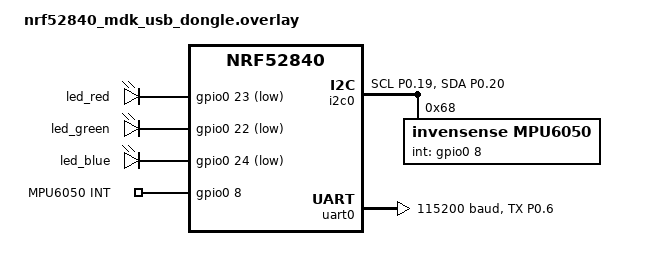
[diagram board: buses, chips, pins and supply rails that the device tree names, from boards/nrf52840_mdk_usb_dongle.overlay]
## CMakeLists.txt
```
# 1. This MUST be the first line
cmake_minimum_required(VERSION 3.20.0)

# 2. This loads the Zephyr engine. 
# HINTS $ENV{ZEPHYR_BASE} is the "safety net" for the terminal.
find_package(Zephyr REQUIRED HINTS $ENV{ZEPHYR_BASE})

# 3. This MUST come AFTER find_package
project(lima_blinky)

# 4. This MUST come AFTER find_package because Zephyr defines 'app'
target_sources(app PRIVATE 
    src/main.c
    src/fsm.c
    src/crypto.c
)
```

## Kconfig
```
# L.I.M.A. Firmware Configuration

source "Kconfig.zephyr"

config LIMA_MAIN_LOG_LEVEL
    int "LIMA main log level"
    default 3
    range 0 4

config LIMA_FSM_LOG_LEVEL
    int "LIMA FSM log level"
    default 3
    range 0 4

config LIMA_CRYPTO_LOG_LEVEL
    int "LIMA crypto log level"
    default 3
    range 0 4

config LIMA_DEEP_SLEEP_INTERVAL_MS
    int "Deep sleep wakeup interval (ms)"
    default 6000

config LIMA_BARO_THRESHOLD_PA
    int "Barometric pressure breach threshold in Pascals"
    default 5

config LIMA_CRYPTO_KEY_ID
    hex "PSA persistent key slot ID for LIMA signing key"
    default 0x00000001
```

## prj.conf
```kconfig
# Core Kernel Features
CONFIG_GPIO=y

# Logging
CONFIG_SERIAL=y
CONFIG_UART_CONSOLE=y
CONFIG_PRINTK=y
CONFIG_LOG=y
CONFIG_LOG_DEFAULT_LEVEL=3
# Error     1   LOG_ERR
# Warning   2   LOG_ERR, LOG_WRN
# Info      3   LOG_ERR, LOG_WRN, LOG_INF
# Debug     4   LOG_ERR, LOG_WRN, LOG_INF, LOG_DBG
CONFIG_LOG_MODE_DEFERRED=y

# I2C
CONFIG_I2C=y
CONFIG_I2C_LOG_LEVEL_DBG=y

# Sensors
CONFIG_SENSOR=y
CONFIG_MPU6050=y
CONFIG_BME280=y
CONFIG_LIMA_BARO_THRESHOLD_PA=5
CONFIG_BME280_FILTER_OFF=y

# Stack protection / fault dumps
CONFIG_FAULT_DUMP=2
CONFIG_HW_STACK_PROTECTION=y
CONFIG_MPU_STACK_GUARD=y

# FPU for sqrt/math
CONFIG_FPU=y

# Heap and workqueue
CONFIG_HEAP_MEM_POOL_SIZE=2048
CONFIG_SYSTEM_WORKQUEUE_STACK_SIZE=4096

# Power Management — PM_DEVICE only, CONFIG_PM not supported on this board
# CONFIG_PM=y
CONFIG_PM_DEVICE=y
CONFIG_LIMA_DEEP_SLEEP_INTERVAL_MS=6000

# Crypto — Oberon PSA driver (software, volatile keys for v1)
CONFIG_NRF_SECURITY=y
CONFIG_MBEDTLS_PSA_CRYPTO_C=y
CONFIG_MBEDTLS_ENABLE_HEAP=y
CONFIG_MBEDTLS_HEAP_SIZE=8192
# CONFIG_NRF_CC3XX_PLATFORM=y
CONFIG_PSA_CRYPTO_DRIVER_OBERON=y
CONFIG_PSA_WANT_GENERATE_RANDOM=y
CONFIG_PSA_WANT_ALG_CTR_DRBG=y
CONFIG_PSA_WANT_ALG_ECDSA=y
CONFIG_PSA_WANT_ALG_SHA_256=y
CONFIG_PSA_WANT_ECC_SECP_R1_256=y
CONFIG_PSA_WANT_KEY_TYPE_ECC_KEY_PAIR_GENERATE=y
CONFIG_PSA_WANT_KEY_TYPE_ECC_PUBLIC_KEY=y
# CONFIG_MBEDTLS_PSA_CRYPTO_KEY_ID_ENCODES_OWNER=n


# Bluetooth
CONFIG_BT=y
CONFIG_BT_PERIPHERAL=y
CONFIG_BT_DEVICE_NAME="LIMA_NODE_01"

# Persistent storage
CONFIG_SETTINGS=y
CONFIG_SETTINGS_NVS=y
CONFIG_NVS_LOOKUP_CACHE=y

CONFIG_FLASH=y
CONFIG_FLASH_MAP=y
CONFIG_NVS=y
# CONFIG_TRUSTED_STORAGE=y
# CONFIG_TRUSTED_STORAGE_BACKEND_FLASH=y
# CONFIG_TRUSTED_STORAGE_STORAGE_PREFIX="lima"
CONFIG_PSA_WANT_KEY_TYPE_ECC_KEY_PAIR_IMPORT=y
CONFIG_PSA_WANT_KEY_TYPE_ECC_KEY_PAIR_EXPORT=y
# CONFIG_MBEDTLS_PSA_CRYPTO_STORAGE_C=y
# CONFIG_PSA_ITS_FLASH=y
```

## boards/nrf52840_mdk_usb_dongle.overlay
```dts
&i2c0 {
    status = "okay";
    pinctrl-0 = <&i2c0_default>;
    pinctrl-names = "default";
    mpu6050@68 {
        compatible = "invensense,mpu6050";
        reg = <0x68>;
        int-gpios = <&gpio0 8 GPIO_ACTIVE_HIGH>;
    };
};

&pinctrl {
    i2c0_default: i2c0_default {
        group1 {
            psels = <NRF_PSEL(TWIM_SCL, 0, 19)>,
                    <NRF_PSEL(TWIM_SDA, 0, 20)>;
            bias-pull-up;        
        };
    };
    uart0_default: uart0_default {
        group1 {
            psels = <NRF_PSEL(UART_TX, 0, 6)>;
            bias-disable;
        };
    };
    uart0_sleep: uart0_sleep {
        group1 {
            psels = <NRF_PSEL(UART_TX, 0, 6)>;
            low-power-enable;
        };
    };
};

&uart0 {
    status = "okay";
    current-speed = <115200>;
    pinctrl-0 = <&uart0_default>;
    pinctrl-1 = <&uart0_sleep>;
    pinctrl-names = "default", "sleep";
};

/ {
    leds {
        compatible = "gpio-leds";
        led_red: led_0 {
            gpios = <&gpio0 23 GPIO_ACTIVE_LOW>;
        };
        led_green: led_1 {
            gpios = <&gpio0 22 GPIO_ACTIVE_LOW>;
        };
        led_blue: led_2 {
            gpios = <&gpio0 24 GPIO_ACTIVE_LOW>;
        };
    };
    
    keys {
        compatible = "gpio-keys";
        mpu_int: mpu_int {
            gpios = <&gpio0 8 GPIO_ACTIVE_HIGH>;
            label = "MPU6050 INT";
        };
    };

    aliases {
        led0 = &led_red;
        led1 = &led_green;
        led2 = &led_blue;
        mpu-int = &mpu_int;    // ← add this
    };
};
```

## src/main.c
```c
/*
 * ============================================================================
 * Project: L.I.M.A. (Local Integrity Multi-modal Architecture)
 * File:    main.c
 * Author:  Justin Knox
 * Date:    Feb 2026
 *
 * Description: 
 * Event-driven FSM for edge integrity monitoring. Uses a decoupled 
 * thread model to separate high-frequency sensor polling from 
 * cryptographic signing and BLE transmission states.
 *
 * Architecture:
 * ├── #includes & defines     (System & Zephyr RTOS config)
 * ├── Hardware Globals        (LEDs, MPU6050, Message Queues)
 * ├── HAL & Stubs             (I2C Recovery, IMU Read, Crypto/BLE stubs)
 * ├── FSM Engine              (State transitions & Entry/Exit logic)
 * ├── fsm_dispatch()          (Event-to-State routing)
 * ├── Thread Functions        (sensor_thread_fn, fsm_thread_fn)
 * ├── K_THREAD_DEFINE x2      (Static thread allocation)
 * └── main()                  (Hardware init & Thread resumption)
 * ============================================================================
 */

#include <zephyr/kernel.h>
#include <zephyr/kernel/thread.h>
#include <zephyr/drivers/gpio.h>
#include <zephyr/drivers/sensor.h>
#include <zephyr/logging/log.h>
#include <math.h>
#include "events.h"
#include "fsm.h"
#include "crypto.h"

LOG_MODULE_REGISTER(lima_main, LOG_LEVEL_INF);

#define I2C0_SCL_PIN 19
#define I2C0_SDA_PIN 20

/* ── Board definitions ───────────────────────────────────────────────────── */

#define LED_R_NODE DT_ALIAS(led0)
#define LED_G_NODE DT_ALIAS(led1)
#define LED_B_NODE DT_ALIAS(led2)

/* ── Configuration ───────────────────────────────────────────────────────── */

#define FSM_MSGQ_DEPTH          16
#define FSM_THREAD_PRIORITY     5
#define SENSOR_THREAD_PRIORITY  6
#define POLL_INTERVAL_MS        60      /* 16.67 Hz — matches your working blinky */
#define COOLDOWN_MS_DEFAULT     5000    /* 5s default; tune per deployment         */
#define MOTION_THRESHOLD_G      0.80     /* 1.1 good for table top     */
#define FSM_STACK_SIZE          8192  // Double it again
#define SENSOR_STACK_SIZE       4096  // Double it again



/* ── Hardware globals ────────────────────────────────────────────────────── */

static const struct gpio_dt_spec led_r = GPIO_DT_SPEC_GET(LED_R_NODE, gpios);
static const struct gpio_dt_spec led_g = GPIO_DT_SPEC_GET(LED_G_NODE, gpios);
static const struct gpio_dt_spec led_b = GPIO_DT_SPEC_GET(LED_B_NODE, gpios);

/* motion sensor */
static const struct device *mpu;
static struct sensor_value accel[3];

/* baro sensor */
static const struct device *bme;
static struct sensor_value baro_press;
static float baro_baseline_hpa = 0.0f;

/* Sleep LED state */
static struct k_work_delayable sleep_led_work;
static uint8_t sleep_led_on = 0;
static uint32_t sleep_led_interval_ms = 0;
static uint8_t sleep_led_white = 0;  /* 1 = white pulse (deep), 0 = red+blue (light) */

/* RTC wakeup stub  */
static struct k_work_delayable rtc_wakeup_work;

/* I2C prototype */
static void hw_i2c_bus_recovery(void);

/* ── Message queue ───────────────────────────────────────────────────────── */

K_MSGQ_DEFINE(fsm_msgq, sizeof(lima_event_t), FSM_MSGQ_DEPTH, 4);

int lima_post_event(const lima_event_t *evt)
{
    return k_msgq_put(&fsm_msgq, evt, K_NO_WAIT);
}

/* Non-blocking timer for cooldown */
static struct k_work_delayable cooldown_work; 

/* Non-blocking timer tx timeout */
static struct k_work_delayable tx_timeout_work;

/* Threads */
static void sensor_thread_fn(void *p1, void *p2, void *p3);
static void fsm_thread_fn(void *p1, void *p2, void *p3);


/* ── Heartbeat timer (ARMED state blue pulse) ────────────────────────────── */

static void heartbeat_expiry_fn(struct k_timer *timer_id);
K_TIMER_DEFINE(heartbeat_timer, heartbeat_expiry_fn, NULL);

static void heartbeat_expiry_fn(struct k_timer *timer_id)
{
    ARG_UNUSED(timer_id);
    static uint8_t tick = 0;

    /* Double-blink pattern: on at tick 0 and 2, off otherwise.
     * Period = 20 ticks × 100 ms = 2 seconds. */
    bool led_on = (tick == 0 || tick == 2);
    gpio_pin_set_dt(&led_b, led_on ? 1 : 0);
    tick = (tick + 1) % 20;
}

/* ── Sleep LED timer ─────────────────────────────────────────────────────── */

static void sleep_led_expiry_fn(struct k_work *work)
{
    sleep_led_on = !sleep_led_on;
    gpio_pin_set_dt(&led_r, sleep_led_on ? 1 : 0);
    gpio_pin_set_dt(&led_g, (sleep_led_on && sleep_led_white) ? 1 : 0);
    gpio_pin_set_dt(&led_b, sleep_led_on ? 1 : 0);

    /* Reschedule only if interval is still set */
    if (sleep_led_interval_ms > 0) {
        k_work_reschedule(&sleep_led_work, K_MSEC(sleep_led_interval_ms));
    }
}

static void rtc_wakeup_expiry_fn(struct k_work *work)
{
    ARG_UNUSED(work);
    LOG_INF("[RTC] wakeup timer fired — posting LIMA_EVT_RTC_WAKEUP");
    lima_event_t e = {
        .type         = LIMA_EVT_RTC_WAKEUP,
        .timestamp_ms = k_uptime_get_32(),
    };
    lima_post_event(&e);
}

/* ── Hardware Abstraction Layer ──────────────────────────────────────────── */

static int hw_init_sensors(void)
{
    mpu = DEVICE_DT_GET_ANY(invensense_mpu6050);

    if (mpu == NULL) {
        LOG_ERR("MPU6050 device not found in devicetree!");
        return -ENODEV;
    }
    if (!device_is_ready(mpu)) {
        LOG_ERR("MPU6050 not ready!");
        return -ENODEV;
    }
    LOG_INF("MPU6050 ready");

    bme = DEVICE_DT_GET_ANY(bosch_bme280);

    if (bme == NULL) {
        LOG_ERR("BME280 device not found in devicetree!");
        return -ENODEV;
    }
    if (!device_is_ready(bme)) {
        LOG_ERR("BME280 not ready!");
        return -ENODEV;
    }
    LOG_INF("BME280 ready");
    return 0;
}

static double hw_read_imu(void)
{
    int ret = sensor_sample_fetch(mpu);
    if (ret < 0) {
        // LOG_WRN("MPU6050: fetch failed (%d)", ret);
        LOG_WRN("MPU6050: fetch failed (%d), attempting bus recovery", ret);
        hw_i2c_bus_recovery();
        k_msleep(10);
        ret = sensor_sample_fetch(mpu);
        if (ret < 0) {
            LOG_ERR("MPU6050: fetch failed after recovery (%d)", ret);
            return -1.0;
        }
        LOG_INF("MPU6050: recovered successfully");
    }
    
    sensor_channel_get(mpu, SENSOR_CHAN_ACCEL_XYZ, accel);

    double ax = sensor_value_to_double(&accel[0]);
    double ay = sensor_value_to_double(&accel[1]);
    double az = sensor_value_to_double(&accel[2]);

    double mag_ms2   = sqrt(ax * ax + ay * ay + az * az);
    double current_g = mag_ms2 / 9.80665;
    double motion_g  = fabs(current_g - 1.0);

    LOG_DBG("Raw: %.2f m/s2 | Motion: %.2f G", mag_ms2, motion_g);
    return motion_g;
}

static float hw_read_baro(void)
{
    int ret = sensor_sample_fetch(bme);
    if (ret < 0) {
        LOG_WRN("BME280: fetch failed (%d), attempting bus recovery", ret);
        hw_i2c_bus_recovery();
        k_msleep(10);
        ret = sensor_sample_fetch(bme);
        if (ret < 0) {
            LOG_ERR("BME280: fetch failed after recovery (%d)", ret);
            return 0.0f;
        }
        LOG_INF("BME280: recovered successfully");
    }

    sensor_channel_get(bme, SENSOR_CHAN_PRESS, &baro_press);
    float abs_hpa = (float)sensor_value_to_double(&baro_press);
    
    /* First reading sets the baseline */
    if (baro_baseline_hpa == 0.0f) {
        baro_baseline_hpa = abs_hpa;
        LOG_INF("BARO: baseline set to %.2f hPa", (double)abs_hpa);
        return 0.0f;
    }

    /* Compute delta BEFORE updating baseline */
    float delta_pa = (abs_hpa - baro_baseline_hpa) * 100.0f;
    LOG_DBG("BARO: %.2f hPa | delta %.2f Pa", (double)abs_hpa, (double)delta_pa);

    /* Now walk baseline toward current reading to absorb slow drift */
    baro_baseline_hpa += (abs_hpa - baro_baseline_hpa) * 0.01f;

    return delta_pa;
}

static void hw_i2c_bus_recovery(void)
{
    LOG_INF("BOOT: I2C bus recovery on P0.%d/P0.%d", I2C0_SCL_PIN, I2C0_SDA_PIN);

    const struct device *gpio0_dev = DEVICE_DT_GET(DT_NODELABEL(gpio0));
    if (!device_is_ready(gpio0_dev)) {
        LOG_ERR("GPIO0 device not ready for recovery");
        return;
    }

    gpio_pin_configure(gpio0_dev, I2C0_SCL_PIN, GPIO_OUTPUT_HIGH);
    gpio_pin_configure(gpio0_dev, I2C0_SDA_PIN, GPIO_INPUT);

    for (int i = 0; i < 9; i++) {
        gpio_pin_set_raw(gpio0_dev, I2C0_SCL_PIN, 1);
        k_busy_wait(5);
        gpio_pin_set_raw(gpio0_dev, I2C0_SCL_PIN, 0);
        k_busy_wait(5);
    }
    gpio_pin_set_raw(gpio0_dev, I2C0_SCL_PIN, 1);

    gpio_pin_configure(gpio0_dev, I2C0_SCL_PIN, GPIO_DISCONNECTED);
    gpio_pin_configure(gpio0_dev, I2C0_SDA_PIN, GPIO_DISCONNECTED);

    LOG_INF("BOOT: I2C recovery complete");
}


/* ── HAL Stubs (swap in real implementations one at a time) ──────────────── */

static int hw_calibrate(void)
{
    LOG_INF("[STUB] calibrate");
    return 0;
}

static int hw_enable_irqs(void)
{
    LOG_INF("[STUB] enable_sensor_irqs");
    return 0;
}

static int hw_enter_light_sleep(void)
{
    LOG_INF("[SLEEP] light sleep active — waiting for sensor IRQ or inactivity timeout");
    // TODO: real PM_STATE_SUSPEND_TO_IDLE goes here
    // Duration is now owned by inactivity_work timer in fsm.c
    return 0;
}

static int hw_enter_deep_sleep(void)
{
    LOG_INF("[SLEEP] deep sleep active — waiting for RTC wakeup event");
    // TODO: real PM_STATE_SOFT_OFF goes here
    // Duration owned by RTC wakeup timer (future) or manual wakeup event
    return 0;
}

static int hw_sign_event(lima_event_t *e)
{
    LOG_INF("[STUB] sign_event type=0x%02X", e->type);
    return 0;
}

static int hw_ble_advertise(lima_event_t *e)
{
    LOG_INF("[STUB] ble_advertise type=0x%02X", e->type);
    return 0;
}

static int hw_ble_stop(void)
{
    LOG_INF("[STUB] ble_stop");
    return 0;
}

static void hw_assert_fault_led(void)
{
    LOG_INF("[STUB] assert_fault_led");
}

static int hw_try_recover(void)
{
    LOG_INF("[STUB] try_recover");
    return 0;
}

static void hw_watchdog_reset(void)
{
    LOG_INF("[STUB] watchdog_reset");
}

static void hw_notify_low_battery(void)
{
    LOG_INF("[STUB] notify_low_battery");
}

/* Suppress "defined but not used" warnings for stubs not yet wired */
static void __attribute__((unused)) suppress_stub_warnings(void)
{
    (void)hw_calibrate;
    (void)hw_enable_irqs;
    (void)hw_sign_event;
    (void)hw_ble_advertise;
    (void)hw_ble_stop;
    (void)hw_assert_fault_led;
    (void)hw_try_recover;
    (void)hw_watchdog_reset;
    (void)hw_notify_low_battery;
}

/* ── fsm_hw_* Trampolines (called by fsm.c) ──────────────────────────────── */

void fsm_hw_enter_sleep(void)
{
    hw_enter_light_sleep();
}

void fsm_hw_enter_deep_sleep(void)
{
    hw_enter_deep_sleep();
    hw_ble_stop();
     /* Stub RTC wakeup — real PM_STATE_SOFT_OFF replaces this in v2 */
    k_work_reschedule(&rtc_wakeup_work, 
    K_MSEC(CONFIG_LIMA_DEEP_SLEEP_INTERVAL_MS));
}

/**
 * @brief Physical hardware response to FSM state changes.
 *        Called by fsm.c during every transition.
 */
void fsm_hw_set_led(lima_state_t state)
{
    /* Stop the heartbeat before changing LEDs; restart it only for ARMED */
    k_timer_stop(&heartbeat_timer);
    k_work_cancel_delayable(&sleep_led_work);
    sleep_led_interval_ms = 0;
    
    gpio_pin_set_dt(&led_r, 0);
    gpio_pin_set_dt(&led_g, 0);
    gpio_pin_set_dt(&led_b, 0);

    switch (state) {
    case STATE_BOOT:
    case STATE_CALIBRATING:
        /* White (R+G+B) during init */
        gpio_pin_set_dt(&led_r, 1);
        gpio_pin_set_dt(&led_g, 1);
        gpio_pin_set_dt(&led_b, 1);
        break;

    case STATE_ARMED:
        /* Blue double-blink heartbeat */
        k_timer_start(&heartbeat_timer, K_MSEC(100), K_MSEC(100));
        break;

    case STATE_EVENT_DETECTED:
    case STATE_SIGNING:
    case STATE_TRANSMITTING:
        /* Solid Red during active alert pipeline */
        gpio_pin_set_dt(&led_r, 1);
        break;

    case STATE_COOLDOWN:
        /* Yellow (R+G) during suppression window */
        gpio_pin_set_dt(&led_r, 1);
        gpio_pin_set_dt(&led_g, 1);
        break;

    case STATE_FAULT:
        /* Solid Red + log */
        gpio_pin_set_dt(&led_r, 1);
        LOG_ERR("HARDWARE: Fault LED asserted");
        break;

    case STATE_LOW_BATTERY:
        /* Dim amber: just Red at low duty — use solid for simplicity now */
        gpio_pin_set_dt(&led_r, 1);
        break;

    case STATE_LIGHT_SLEEP:
        sleep_led_white = 0;
        sleep_led_interval_ms = 2000;
        k_work_reschedule(&sleep_led_work, K_MSEC(sleep_led_interval_ms));
        break;

    case STATE_DEEP_SLEEP:
        /* Slow white ghost-pulse — all three channels, 4s interval */
        sleep_led_white = 1;
        gpio_pin_set_dt(&led_r, 1);
        gpio_pin_set_dt(&led_g, 1);
        gpio_pin_set_dt(&led_b, 1);
        sleep_led_interval_ms = 4000;
        k_work_reschedule(&sleep_led_work, K_MSEC(sleep_led_interval_ms));
        break;

    default:
        /* Dark for sleep states */
        break;
    }
}

/* ── Sensor Thread ───────────────────────────────────────────────────────── */

static void sensor_thread_fn(void *p1, void *p2, void *p3)
{
    ARG_UNUSED(p1); ARG_UNUSED(p2); ARG_UNUSED(p3);
    LOG_INF("Sensor thread started... sleeping 500ms for FSM boot & calibration...");

    /* Wait for FSM to finish BOOT + CALIBRATING */
    k_sleep(K_MSEC(500));

    LOG_INF("Sensor thread: 500ms expired...");
    
    while (1) {
    lima_state_t s = fsm_get_state();
    if (s == STATE_ARMED || s == STATE_LIGHT_SLEEP) {
        bool event_fired = false;

        double magnitude = hw_read_imu();
        if (magnitude >= 0.0 && magnitude > MOTION_THRESHOLD_G) {
            LOG_INF("MOTION: %.2f g (threshold=%.2f)", magnitude, MOTION_THRESHOLD_G);
            lima_event_t e = {
                .type             = LIMA_EVT_MOTION_DETECTED,
                .timestamp_ms     = k_uptime_get_32(),
                .data.imu.accel_g = (float)magnitude,
            };
            lima_post_event(&e);
            event_fired = true;
        }
        float delta_pa = hw_read_baro();
        if (fabsf(delta_pa) > CONFIG_LIMA_BARO_THRESHOLD_PA) {
            LOG_INF("BARO: delta=%.2f Pa (threshold=%d)", (double)delta_pa, CONFIG_LIMA_BARO_THRESHOLD_PA);
            lima_event_t e = {
                .type               = LIMA_EVT_PRESSURE_BREACH,
                .timestamp_ms       = k_uptime_get_32(),
                .data.baro.delta_pa = delta_pa,
            };
            lima_post_event(&e);
            event_fired = true;
        }

        if (!event_fired) {
            lima_event_t tick = {
                .type         = LIMA_EVT_POLL_TICK,
                .timestamp_ms = k_uptime_get_32(),
            };
            lima_post_event(&tick);
        }
    }
    k_msleep(POLL_INTERVAL_MS);
}
}



/* ── FSM thread ──────────────────────────────────────────────────────────── */

static void fsm_thread_fn(void *p1, void *p2, void *p3)
{
    ARG_UNUSED(p1); ARG_UNUSED(p2); ARG_UNUSED(p3);
    LOG_INF("FSM thread started");

    fsm_init();

    lima_event_t msg;
    while (1) {
        if (k_msgq_get(&fsm_msgq, &msg, K_FOREVER) == 0) {
            fsm_dispatch(&msg);
        }
    }
}

K_THREAD_DEFINE(fsm_thread, FSM_STACK_SIZE,
                fsm_thread_fn, NULL, NULL, NULL,
                FSM_THREAD_PRIORITY, 0, 0);

K_THREAD_DEFINE(sensor_thread, SENSOR_STACK_SIZE,
                sensor_thread_fn, NULL, NULL, NULL,
                SENSOR_THREAD_PRIORITY, 0, 0);
                
/* ── main ────────────────────────────────────────────────────────────────── */

int main(void)
{
    LOG_INF("L.I.M.A. node firmware starting");
    LOG_INF("L.I.M.A.: suspending threads...");

    k_thread_suspend(fsm_thread);
    k_thread_suspend(sensor_thread);
    
    gpio_pin_configure_dt(&led_r, GPIO_OUTPUT_INACTIVE);
    gpio_pin_configure_dt(&led_g, GPIO_OUTPUT_INACTIVE);
    gpio_pin_configure_dt(&led_b, GPIO_OUTPUT_INACTIVE);

    hw_i2c_bus_recovery();
    k_msleep(50); 
    if (hw_init_sensors() != 0) {
        LOG_ERR("Sensor init failed!");
        // post SENSOR_FAULT event or spin
    }
    
    for (int i = 0; i < 6; i++) {
        k_msleep(1000);
        LOG_INF("USB settle: %d/6", i + 1);
    }

    k_work_init_delayable(&sleep_led_work, sleep_led_expiry_fn);
    k_work_init_delayable(&rtc_wakeup_work, rtc_wakeup_expiry_fn);


    if (lima_crypto_init() != 0) {
        LOG_ERR("Crypto init failed — signing unavailable");
    }
    
    bt_enable();
    if (lima_ble_init() != 0) {
        LOG_ERR("BLE init failed — transmitting unavailable");
    }


    LOG_INF("Starting LIMA threads...");
    k_thread_resume(fsm_thread);
    k_thread_resume(sensor_thread);

    return 0;
}
```

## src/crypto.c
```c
/*
 * L.I.M.A. — Local Integrity Multi-modal Architecture
 * crypto.c — PSA ECDSA-P256 / SHA-256 signing module
 *
 * Key storage : Nordic KMU via persistent PSA key slot
 * Algorithm   : ECDSA over NIST P-256 with SHA-256
 * Payload     : lima_payload_t (24 bytes), signed in full
 *
 * Call order (from main.c and fsm.c):
 *   1. lima_crypto_init()            — once, before fsm_init()
 *   2. lima_crypto_build_payload()   — populate from fsm.last_event
 *   3. lima_crypto_sign_async()      — sign, cb posts SIGNING_COMPLETE
 */

#include <zephyr/kernel.h>
#include <zephyr/logging/log.h>
// #include <zephyr/bluetooth/bluetooth.h>
#include <psa/crypto.h>
#include <string.h>
#include "crypto.h"
#include "events.h"

LOG_MODULE_REGISTER(lima_crypto, CONFIG_LIMA_CRYPTO_LOG_LEVEL);

/* ── Private state ───────────────────────────────────────────────────────── */

/* Monotonic sequence counter — incremented on every signed event.
 * TODO(v2): persist to flash via NVS so counter survives power cycles. */
static uint32_t sequence_counter = 0;

/* PSA key handle — opened once in lima_crypto_init(), reused for all signs */
static psa_key_id_t signing_key_id = PSA_KEY_ID_NULL;

/* ── Internal helpers ────────────────────────────────────────────────────── */

/**
 * @brief Generate and persist a P-256 keypair into KMU slot.
 *
 * Called only when no persistent key exists at CONFIG_LIMA_CRYPTO_KEY_ID.
 * In production, replace with factory provisioning via nrfutil KMU push.
 *
 * @return PSA_SUCCESS on success, PSA error code on failure.
 */
static psa_status_t provision_key(psa_key_id_t *out_key_id)
{
    psa_key_attributes_t attr = PSA_KEY_ATTRIBUTES_INIT;

    psa_set_key_lifetime(&attr, PSA_KEY_LIFETIME_VOLATILE);
    // psa_set_key_lifetime(&attr, PSA_KEY_LIFETIME_PERSISTENT);
    // psa_set_key_id(&attr, CONFIG_LIMA_CRYPTO_KEY_ID);
    psa_set_key_type(&attr,
        PSA_KEY_TYPE_ECC_KEY_PAIR(PSA_ECC_FAMILY_SECP_R1));
    psa_set_key_bits(&attr, 256);
    psa_set_key_algorithm(&attr,
        PSA_ALG_ECDSA(PSA_ALG_SHA_256));
    psa_set_key_usage_flags(&attr,
        PSA_KEY_USAGE_SIGN_MESSAGE | PSA_KEY_USAGE_EXPORT);

    // psa_key_id_t key_id;
    // psa_status_t status = psa_generate_key(&attr, &key_id);
    psa_status_t status = psa_generate_key(&attr, out_key_id);

    psa_reset_key_attributes(&attr);

    if (status != PSA_SUCCESS) {
        LOG_ERR("CRYPTO: key generation failed (%d)", status);
        return status;
    }

    // LOG_INF("CRYPTO: P-256 keypair generated and stored in KMU slot 0x%08X",
    //         CONFIG_LIMA_CRYPTO_KEY_ID);
    LOG_INF("CRYPTO: P-256 keypair generated (volatile, id=0x%08X)", *out_key_id);
  
    return PSA_SUCCESS;
}

/**
 * @brief Export and log the public key bytes for gateway registration.
 *
 * Logs 65 bytes (uncompressed point: 0x04 || X || Y) at INF level.
 * In production, write to flash or transmit via provisioning channel.
 *
 * @param key_id  PSA key ID of the persistent signing key.
 */
static void log_public_key(psa_key_id_t key_id)
{
    uint8_t  pub[65];   /* uncompressed P-256 point: 0x04 || X[32] || Y[32] */
    size_t   pub_len;

    psa_status_t status = psa_export_public_key(key_id, pub, sizeof(pub),
                                                &pub_len);
    if (status != PSA_SUCCESS) {
        LOG_ERR("CRYPTO: public key export failed (%d)", status);
        return;
    }

    LOG_INF("CRYPTO: public key (%u bytes):", pub_len);
    LOG_HEXDUMP_INF(pub, pub_len, "  pubkey:");
}

/* ── Public API ──────────────────────────────────────────────────────────── */

int lima_crypto_init(void)
{
    psa_status_t status;
    
    status = psa_crypto_init();

    if (status != PSA_SUCCESS) {
        LOG_ERR("CRYPTO: psa_crypto_init failed (%d)", status);
        return -EIO;
    }

        /* v1: volatile keys — always generate fresh on boot.
     * Persistent key lookup via psa_get_key_attributes is only valid
     * for PSA_KEY_LIFETIME_PERSISTENT keys backed by ITS storage.
     * Attempting it with volatile IDs causes false-positive hits. */
    status = provision_key(&signing_key_id);
    if (status != PSA_SUCCESS) {
        return -EIO;
    }
    
    // /* 2. Check for existing persistent key */
    // psa_key_attributes_t attr = PSA_KEY_ATTRIBUTES_INIT;
    // status = psa_get_key_attributes(CONFIG_LIMA_CRYPTO_KEY_ID, &attr);
    // psa_reset_key_attributes(&attr);

    // if (status == PSA_ERROR_INVALID_HANDLE ||
    //     status == PSA_ERROR_DOES_NOT_EXIST) {
    //     /* No key yet — generate one (dev/first boot) */
    //     LOG_INF("CRYPTO: no key at slot 0x%08X — provisioning",
    //             CONFIG_LIMA_CRYPTO_KEY_ID);
    //     status = provision_key(&signing_key_id);
    //     if (status != PSA_SUCCESS) {
    //         return -EIO;
    //     }
    // } else if (status != PSA_SUCCESS) {
    //     LOG_ERR("CRYPTO: key attribute query failed (%d)", status);
    //     return -EIO;
    // } else {
    //     LOG_INF("CRYPTO: existing key found at slot 0x%08X",
    //             CONFIG_LIMA_CRYPTO_KEY_ID);
    // }

    // /* 3. Open the key for use */
    // signing_key_id = CONFIG_LIMA_CRYPTO_KEY_ID;

    // nerfing for v1
    /* 4. Log public key for gateway registration (dev convenience) */

    log_public_key(signing_key_id);
    LOG_INF("CRYPTO: initialized — ECDSA-P256/SHA-256 ready (key_id=0x%08X)",
            signing_key_id);

    // LOG_WRN("CRYPTO: nerfing public key export for v1 — sign only)");
    // log_public_key(signing_key_id);

    LOG_INF("CRYPTO: initialized — ECDSA-P256/SHA-256 ready");
    return 0;
}

void lima_crypto_build_payload(lima_payload_t *payload,
                               const lima_event_t *evt)
{
    __ASSERT_NO_MSG(payload != NULL);
    __ASSERT_NO_MSG(evt != NULL);

    memset(payload, 0, sizeof(*payload));

    /* node_id — pull BLE MAC from controller FICR */
    // bt_addr_le_t addr;
    // size_t count = 1;
    // bt_id_get(&addr, &count);
    // memcpy(payload->node_id, addr.a.val, sizeof(payload->node_id));

    /* TODO(v2): replace with bt_id_get() when BLE stack is enabled */
    static const uint8_t dev_node_id[6] = { 0xDE, 0xAD, 0xBE, 0xEF, 0x00, 0x01 };
    memcpy(payload->node_id, dev_node_id, sizeof(payload->node_id));

    /* Monotonic sequence counter — anti-replay */
    payload->sequence     = ++sequence_counter;

    /* Event metadata */
    payload->timestamp_ms = evt->timestamp_ms;
    payload->event_type   = (uint8_t)evt->type;

    /* Sensor data — copy from whichever union arm is relevant.
     * For non-sensor events, these will be zero from the memset above. */
    switch (evt->type) {
    case LIMA_EVT_MOTION_DETECTED:
    case LIMA_EVT_DUAL_BREACH:
        payload->accel_g  = evt->data.imu.accel_g;
        break;

    case LIMA_EVT_PRESSURE_BREACH:
        payload->delta_pa = evt->data.baro.delta_pa;
        break;

    case LIMA_EVT_TAMPER_DETECTED:
        /* Tamper has no sensor data — accel_g and delta_pa stay zero */
        break;

    default:
        break;
    }

    /* reserved[2] stays zero from memset */

    LOG_DBG("CRYPTO: payload built — node=%02X:%02X:%02X:%02X:%02X:%02X "
            "seq=%u evt=0x%02X accel=%.2f delta_pa=%.2f",
            payload->node_id[0], payload->node_id[1], payload->node_id[2],
            payload->node_id[3], payload->node_id[4], payload->node_id[5],
            payload->sequence,
            payload->event_type,
            (double)payload->accel_g,
            (double)payload->delta_pa);
}

int lima_crypto_sign_async(const lima_payload_t *payload,
                           lima_sign_cb_t cb)
{
    if (payload == NULL || cb == NULL) {
        LOG_ERR("CRYPTO: NULL parameter");
        return -EINVAL;
    }

    if (signing_key_id == PSA_KEY_ID_NULL) {
        LOG_ERR("CRYPTO: not initialized — call lima_crypto_init() first");
        return -ECANCELED;
    }

    lima_sig_result_t result = { 0 };

    /* Sign the full 24-byte payload struct.
     * psa_sign_message() hashes internally with SHA-256 before signing. */
    result.err = (int)psa_sign_message(
        signing_key_id,
        PSA_ALG_ECDSA(PSA_ALG_SHA_256),
        (const uint8_t *)payload,
        sizeof(lima_payload_t),
        result.sig,
        sizeof(result.sig),
        &result.sig_len
    );

    if (result.err != PSA_SUCCESS) {
        LOG_ERR("CRYPTO: psa_sign_message failed (%d)", result.err);
    } else {
        LOG_INF("CRYPTO: signed %u bytes — sig[0..3]=%02X%02X%02X%02X",
                result.sig_len,
                result.sig[0], result.sig[1],
                result.sig[2], result.sig[3]);
    }

    /* Invoke callback — cb() posts event to FSM queue */
    cb(&result);

    return 0;
}
```

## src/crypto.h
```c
/*
 * L.I.M.A. — Local Integrity Multi-modal Architecture
 * crypto.h — Signing API
 *
 * PSA ECDSA-P256 / SHA-256 over lima_payload_t.
 * Key stored in Nordic KMU via persistent PSA key slot.
 *
 * Call order:
 *   1. lima_crypto_init()            — once, after psa_crypto_init()
 *   2. lima_crypto_build_payload()   — populate from fsm.last_event
 *   3. lima_crypto_sign_async()      — sign, callback posts SIGNING_COMPLETE
 */

#ifndef LIMA_CRYPTO_H
#define LIMA_CRYPTO_H

#include <stdint.h>
#include <stddef.h>
#include "events.h"

/* ── Payload ─────────────────────────────────────────────────────────────── */

typedef struct {
    uint8_t  node_id[6];      /* BLE MAC or provisioned ID            */
    uint8_t  event_type;      /* lima_event_type_t                     */
    uint8_t  reserved[1];     /* alignment padding — zero-filled       */
    uint32_t sequence;        /* monotonic counter — anti-replay       */
    uint32_t timestamp_ms;    /* k_uptime_get_32() at event time       */
    float    accel_g;         /* IMU vector magnitude at trigger (g)   */
    float    delta_pa;        /* baro delta at trigger (Pa)            */
} lima_payload_t;             /* 24 bytes                              */

// typedef struct {
//     uint8_t  node_id[6];      /* 6 B */
//     uint8_t  event_type;      /* 1 B */
//     uint8_t  reserved[1];     /* 1 B — pad to 8 B boundary */
//     uint32_t sequence;        /* 4 B */
//     uint32_t timestamp_ms;    /* 4 B */
//     float    accel_g;         /* 4 B */
//     float    delta_pa;        /* 4 B */
// } lima_payload_t;             /* 24 bytes exactly */

BUILD_ASSERT(sizeof(lima_payload_t) == 24, "lima_payload_t size mismatch");

/* ── Signing Result ──────────────────────────────────────────────────────── */

typedef struct {
    uint8_t  sig[64];         /* ECDSA-P256 signature (r || s)         */
    size_t   sig_len;         /* always 64 for P-256                   */
    int      err;             /* 0 on success, PSA error code          */
} lima_sig_result_t;

/* ── Callback ────────────────────────────────────────────────────────────── */

typedef void (*lima_sign_cb_t)(const lima_sig_result_t *result);

/* ── API ─────────────────────────────────────────────────────────────────── */

/**
 * @brief Initialize PSA crypto and provision signing key if absent.
 *
 * Must be called once from main.c after board init, before fsm_init().
 * Generates a P-256 keypair into KMU slot CONFIG_LIMA_CRYPTO_KEY_ID
 * if no persistent key exists there yet.
 *
 * @return 0 on success, negative PSA error code on failure.
 */
int lima_crypto_init(void);

/**
 * @brief Populate a lima_payload_t from the current FSM event context.
 *
 * Fills node_id from BLE MAC (or static override), stamps sequence
 * counter, copies event fields. Caller owns payload memory.
 *
 * @param payload  Output struct to populate.
 * @param evt      Source event from fsm.last_event.
 */
void lima_crypto_build_payload(lima_payload_t *payload,
                               const lima_event_t *evt);

/**
 * @brief Sign a payload with ECDSA-P256 / SHA-256.
 *
 * Synchronous in v1 (CryptoCell hardware-accelerated but blocking).
 * Calls cb() with result before returning. cb() must post
 * LIMA_EVT_SIGNING_COMPLETE or LIMA_EVT_SENSOR_FAULT to the FSM queue.
 *
 * @param payload  Populated payload struct to sign.
 * @param cb       Completion callback — must be non-NULL.
 * @return 0 if signing was attempted, negative on parameter error.
 */
int lima_crypto_sign_async(const lima_payload_t *payload,
                           lima_sign_cb_t cb);

#endif /* LIMA_CRYPTO_H */
```

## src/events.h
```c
/*
 * L.I.M.A. — Local Integrity Multi-modal Architecture
 * events.h — Event types and payload struct
 *
 * All inter-thread communication flows through lima_event.
 * ISRs and sensor threads post to the FSM message queue;
 * the FSM thread consumes and transitions state.
 */

#ifndef LIMA_EVENTS_H
#define LIMA_EVENTS_H

#include <stdint.h>

#ifdef __cplusplus
extern "C" {
#endif

/* ── Event types ──────────────────────────────────────────────────────────── */

typedef enum {
    /* ── Sensor Triggers (0x01 - 0x07) ───────────────────────────────────── */
    LIMA_EVT_PRESSURE_BREACH    = 0x01,  /* BMP280: pressure delta > threshold  */
    LIMA_EVT_MOTION_DETECTED    = 0x02,  /* MPU6050: acceleration > threshold   */
    LIMA_EVT_DUAL_BREACH        = 0x03,  /* Both sensors triggered              */
    LIMA_EVT_SENSOR_TRIGGER     = 0x04,  /* General/Generic sensor trigger      */
    LIMA_EVT_TAMPER_DETECTED    = 0x05,  /* Case open / voltage spike           */
    LIMA_EVT_WAKEUP             = 0x06,  /* General wakeup (RTC or GPIO)        */
    LIMA_EVT_RTC_WAKEUP         = 0x07,  /* RTC only woke from deep sleep       */

    /* ── Node Health & Battery (0x08 - 0x0F) ─────────────────────────────── */
    LIMA_EVT_LOW_BATTERY        = 0x08,  /* Vbat < low threshold                */
    LIMA_EVT_CRITICAL_BATTERY   = 0x09,  /* Vbat < critical threshold -> shutdown*/
    LIMA_EVT_BATTERY_RESTORED   = 0x0A,  /* Vbat recovered                      */

    /* ── Lifecycle & Timing (0x10 - 0x1F) ────────────────────────────────── */
    LIMA_EVT_INIT_COMPLETE      = 0x10,  /* Boot init done, watchdog armed      */
    LIMA_EVT_BASELINE_READY     = 0x11,  /* Calibration complete                */
    LIMA_EVT_POLL_TICK          = 0x12,  /* Poll interval elapsed (no event)    */
    LIMA_EVT_GOTO_SLEEP         = 0x13,  /* Manual trigger for Light Sleep      */
    LIMA_EVT_GOTO_DEEP_SLEEP    = 0x14,  /* Manual trigger for System OFF       */
    LIMA_EVT_SLEEP_TIMER_EXPIRY = 0x15,  /* Inactivity -> deep sleep            */
    LIMA_EVT_COOLDOWN_EXPIRED   = 0x16,  /* Cooldown timer done -> rearm        */
    LIMA_EVT_TIMEOUT            = 0x17,  /* General purpose FSM timeout         */
    LIMA_EVT_ARMED_TIMEOUT      = 0x18,  /* ARMED dwell expired → OK to sleep   */
    LIMA_EVT_INACTIVITY_TIMEOUT = 0x19,  /* Inactivity timeout → deep sleep     */

    /* ── BLE Broker & Signing (0x20 - 0x2F) ──────────────────────────────── */
    LIMA_EVT_SIGNING_COMPLETE   = 0x20,  /* Payload signed and ready            */
    LIMA_EVT_TX_COMPLETE        = 0x21,  /* BLE advertisement confirmed         */
    LIMA_EVT_TX_TIMEOUT         = 0x22,  /* TX did not confirm in time          */
    LIMA_EVT_TX_FAILED          = 0x23,  /* Advertisement failed (max retries)  */

    /* ── Faults & Recovery (0x30 - 0x3F) ─────────────────────────────────── */
    LIMA_EVT_SENSOR_FAULT       = 0x30,  /* I2C error / sensor dropout          */
    LIMA_EVT_BLE_FAULT          = 0x31,  /* BLE TX failed (max retries)         */
    LIMA_EVT_RECOVERY_SUCCESS   = 0x32,  /* Fault recovery succeeded            */
    LIMA_EVT_RECOVERY_FAILED    = 0x33,  /* Unrecoverable -> watchdog reset     */
    LIMA_EVT_ERROR              = 0x3F   /* General system logic error          */

} lima_event_type_t;


/* ── Sensor payload variants ─────────────────────────────────────────────── */

typedef struct {
    float   delta_pa;        /* Pressure delta from baseline (Pascals) */
    float   abs_hpa;         /* Absolute reading (hPa)                 */
} lima_baro_data_t;

typedef struct {
    float   accel_g;         /* Peak acceleration magnitude (g)        */
    float   gyro_dps;        /* Peak gyro magnitude (deg/s)            */
} lima_imu_data_t;

typedef struct {
    uint8_t fault_code;      /* Hardware fault identifier              */
    uint8_t retry_count;     /* How many recovery attempts so far      */
} lima_fault_data_t;

typedef struct {
    uint16_t mv;             /* Battery voltage in millivolts          */
} lima_battery_data_t;

/* ── Master event struct ─────────────────────────────────────────────────── */

typedef struct {
    lima_event_type_t   type;
    uint32_t            timestamp_ms;   /* k_uptime_get_32() at event creation */
    uint8_t             node_id[6];     /* BLE MAC address of this node        */

    union {
        lima_baro_data_t    baro;
        lima_imu_data_t     imu;
        lima_fault_data_t   fault;
        lima_battery_data_t battery;
    } data;
} lima_event_t;

#ifdef __cplusplus
}
#endif

#endif /* LIMA_EVENTS_H */
```

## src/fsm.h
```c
#ifndef LIMA_FSM_H
#define LIMA_FSM_H

#include <zephyr/kernel.h>
#include <stdbool.h>
#include "events.h"

#define SLEEP_INACTIVITY_MS     8000   /* 30s no event → deep sleep               */
#define TX_TIMEOUT_MS           1500     /* tune later */
#define MAX_FAULT_RETRIES       3
#define ARMED_DWELL_MS          3000

/* ── State Definitions ───────────────────────────────────────────────────── */
typedef enum {
    STATE_BOOT,
    STATE_CALIBRATING,
    STATE_ARMED,
    STATE_LIGHT_SLEEP,    /* System ON: CPU idle, RAM on, fast wakeup */
    STATE_DEEP_SLEEP,     /* System OFF: Lowest power, RAM off, Reset wakeup */
    STATE_EVENT_DETECTED,
    STATE_SIGNING,
    STATE_TRANSMITTING,
    STATE_COOLDOWN,
    STATE_FAULT,
    STATE_LOW_BATTERY,
    STATE_COUNT
} lima_state_t;

/* ── FSM Context ─────────────────────────────────────────────────────────── */
/* Holds all mutable FSM state. Defined in fsm.c, declared extern here. */
typedef struct {
    lima_event_t    last_event;         /* Latched trigger event */
    uint32_t        armed_since_ms;     /* k_uptime when we entered ARMED */
    uint32_t        cooldown_ms;        /* Configurable cooldown duration */
    uint8_t         fault_retries;      /* Retry counter for FAULT recovery */
} lima_fsm_ctx_t;


/* ── FSM Logic API ───────────────────────────────────────────────────────── */

void fsm_init(void);
void fsm_dispatch(const lima_event_t *evt); 
lima_state_t fsm_get_state(void);
const char* fsm_state_to_str(lima_state_t state);

/* ── Event Queue API (defined in main.c) ────────────────────────────────── */
/* fsm.c calls this to post events back to the queue during transitions */
int lima_post_event(const lima_event_t *evt);


/* ── Hardware Abstraction Hooks (The "Stubs" for main.c) ────────────────── */

/**
 * @brief Light Sleep (System ON). 
 * CPU stops, but peripheral state and RAM are preserved.
 */
void fsm_hw_enter_sleep(void);

/**
 * @brief Deep Sleep (System OFF). 
 * chip powers down almost entirely. Next wakeup is a reboot.
 */
void fsm_hw_enter_deep_sleep(void);

/**
 * @brief Updates physical LEDs based on the FSM state.
 */
void fsm_hw_set_led(lima_state_t state);

#endif /* LIMA_FSM_H */
```
